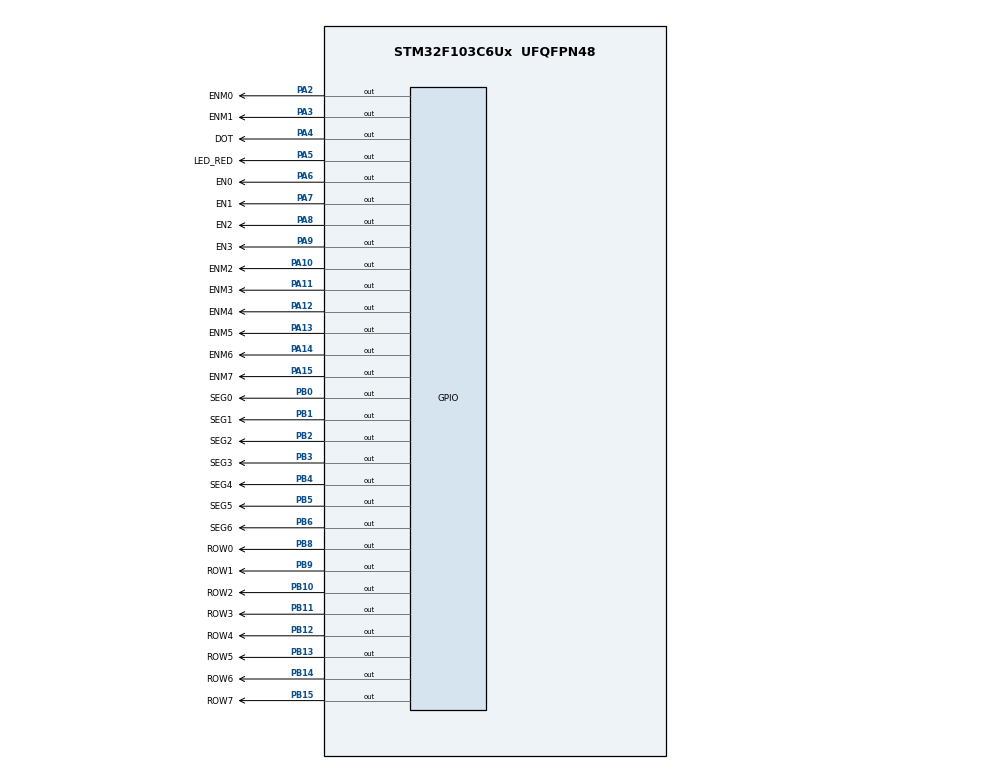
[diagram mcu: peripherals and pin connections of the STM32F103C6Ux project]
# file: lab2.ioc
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Mcu.Family=STM32F1
Mcu.Name=STM32F103C6Ux
Mcu.Package=UFQFPN48
NVIC.PriorityGroup=NVIC_PRIORITYGROUP_4
NVIC.TIM2_IRQn=true\:0\:0\:false\:false\:true\:true\:true
PA10.GPIO_Label=ENM2
PA10.Signal=GPIO_Output
PA11.GPIO_Label=ENM3
PA11.Signal=GPIO_Output
PA12.GPIO_Label=ENM4
PA12.Signal=GPIO_Output
PA13.GPIO_Label=ENM5
PA13.Signal=GPIO_Output
PA14.GPIO_Label=ENM6
PA14.Signal=GPIO_Output
PA15.GPIO_Label=ENM7
PA15.Signal=GPIO_Output
PA2.GPIO_Label=ENM0
PA2.Signal=GPIO_Output
PA3.GPIO_Label=ENM1
PA3.Signal=GPIO_Output
PA4.GPIO_Label=DOT
PA4.Signal=GPIO_Output
PA5.GPIO_Label=LED_RED
PA5.Signal=GPIO_Output
PA6.GPIO_Label=EN0
PA6.Signal=GPIO_Output
PA7.GPIO_Label=EN1
PA7.Signal=GPIO_Output
PA8.GPIO_Label=EN2
PA8.Signal=GPIO_Output
PA9.GPIO_Label=EN3
PA9.Signal=GPIO_Output
PB0.GPIO_Label=SEG0
PB0.Signal=GPIO_Output
PB1.GPIO_Label=SEG1
PB1.Signal=GPIO_Output
PB10.GPIO_Label=ROW2
PB10.Signal=GPIO_Output
PB11.GPIO_Label=ROW3
PB11.Signal=GPIO_Output
PB12.GPIO_Label=ROW4
PB12.Signal=GPIO_Output
PB13.GPIO_Label=ROW5
PB13.Signal=GPIO_Output
PB14.GPIO_Label=ROW6
PB14.Signal=GPIO_Output
PB15.GPIO_Label=ROW7
PB15.Signal=GPIO_Output
PB2.GPIO_Label=SEG2
PB2.Signal=GPIO_Output
PB3.GPIO_Label=SEG3
PB3.Signal=GPIO_Output
PB4.GPIO_Label=SEG4
PB4.Signal=GPIO_Output
PB5.GPIO_Label=SEG5
PB5.Signal=GPIO_Output
PB6.GPIO_Label=SEG6
PB6.Signal=GPIO_Output
PB8.GPIO_Label=ROW0
PB8.Signal=GPIO_Output
PB9.GPIO_Label=ROW1
PB9.Signal=GPIO_Output
ProjectManager.HeapSize=0x200
ProjectManager.StackSize=0x400
ProjectManager.TargetToolchain=STM32CubeIDE
RCC.APB1Freq_Value=8000000
RCC.APB2Freq_Value=8000000
TIM2.Period=9
TIM2.Prescaler=7999
VP_SYS_VS_ND.Mode=No_Debug
VP_TIM2_VS_ClockSourceINT.Mode=Internal
board=custom

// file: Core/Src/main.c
/* USER CODE BEGIN Header */
/**
  ******************************************************************************
  * @file           : main.c
  * @brief          : Main program body
  ******************************************************************************
  * @attention
  *
  * <h2><center>&copy; Copyright (c) 2026 STMicroelectronics.
  * All rights reserved.</center></h2>
  *
  * This software component is licensed by ST under BSD 3-Clause license,
  * the "License"; You may not use this file except in compliance with the
  * License. You may obtain a copy of the License at:
  *                        opensource.org/licenses/BSD-3-Clause
  *
  ******************************************************************************
  */
/* USER CODE END Header */
#include "main.h"

TIM_HandleTypeDef htim2;

/* USER CODE BEGIN PV */
int hour = 15, minute = 8, second = 50;
int counter_7seg = 25;
int led_state = 0;
int led_index = 0;
int counter_dot = 100;
const int MAX_LED = 4;
int index_led = 0;
int led_buffer[4] = {1, 2, 3, 0};
const int MAX_LED_MATRIX = 8;
int index_led_matrix = 0;
uint8_t matrix_buffer[8] = {0x18, 0x24, 0x42, 0x42, 0x7E, 0x42, 0x42, 0x42};
const uint16_t ENM_PIN[8] = {
    GPIO_PIN_2,  GPIO_PIN_3,  GPIO_PIN_10, GPIO_PIN_11,
    GPIO_PIN_12, GPIO_PIN_13, GPIO_PIN_14, GPIO_PIN_15
};
/* USER CODE END PV */

void SystemClock_Config(void);
static void MX_GPIO_Init(void);
static void MX_TIM2_Init(void);
/* USER CODE BEGIN PFP */
void HAL_TIM_PeriodElapsedCallback ( TIM_HandleTypeDef * htim );
void display7SEG(int num);
void updateClockBuffer();
void update7SEG(int index);
void updateLEDMatrix(int index);
void setRowData(uint8_t data);
void shiftLeft(void);
/* USER CODE END PFP */

/* USER CODE BEGIN 0 */
int timer0_counter = 0;
int timer0_flag = 0;

int timer1_counter = 0;
int timer1_flag = 0;

int timer2_counter = 0;
int timer2_flag = 0;

int TIMER_CYCLE = 10;

void setTimer0(int duration) {
    timer0_counter = duration / TIMER_CYCLE;
    timer0_flag = 0;
}

void setTimer1(int duration) {
    timer1_counter = duration / TIMER_CYCLE;
    timer1_flag = 0;
}

void setTimer2(int duration) {
    timer2_counter = duration / TIMER_CYCLE;
    timer2_flag = 0;
}

int timer3_counter = 0;
int timer3_flag = 0;

void setTimer3(int duration) {
    timer3_counter = duration / TIMER_CYCLE;
    timer3_flag = 0;
}

void timer_run() {
    if (timer0_counter > 0) {
        timer0_counter--;
        if (timer0_counter == 0) {
            timer0_flag = 1;
        }
    }
    if (timer1_counter > 0) {
        timer1_counter--;
        if (timer1_counter == 0) {
            timer1_flag = 1;
        }
    }
    if (timer2_counter > 0) {
            timer2_counter--;
            if (timer2_counter == 0)
            	timer2_flag = 1;
        }
    if (timer3_counter > 0) {
            timer3_counter--;
            if (timer3_counter == 0) timer3_flag = 1;
        }
}
/* USER CODE END 0 */

int main(void)
{

  /* MCU Configuration--------------------------------------------------------*/

  /* Reset of all peripherals, Initializes the Flash interface and the Systick. */
  HAL_Init();

  /* Configure the system clock */
  SystemClock_Config();

  /* Initialize all configured peripherals */
  MX_GPIO_Init();
  MX_TIM2_Init();
  /* USER CODE BEGIN 2 */
  updateClockBuffer();
  HAL_TIM_Base_Start_IT (& htim2 );
  setTimer0(1000);
  setTimer1(250);
  setTimer2(10);
  setTimer3(500);
  /* USER CODE END 2 */

  /* Infinite loop */
  while (1)
  {

    /* USER CODE BEGIN 3 */
	  /*if (timer0_flag == 1) {
	          setTimer0(1000);
	          HAL_GPIO_TogglePin(GPIOA, DOT_Pin);
	          second++;
	          if (second >= 60) {
	              second = 0;
	              minute++;
	          }
	          if (minute >= 60) {
	              minute = 0;
	              hour++;
	          }
	          if (hour >= 24) {
	              hour = 0;
	          }
	          updateClockBuffer();
	      }*/
	  if (timer0_flag == 1) {
	            setTimer0(1000);
	            HAL_GPIO_TogglePin(GPIOA, DOT_Pin);
	            second++;
	            if (second >= 60) {
	                second = 0;
	                minute++;
	            }
	            if (minute >= 60) {
	                minute = 0;
	                hour++;
	            }
	            if (hour >= 24) {
	                hour = 0;
	            }
	            updateClockBuffer();
	        }
	        if (timer1_flag == 1) {
	            setTimer1(250);
	            update7SEG(index_led++);
	            if(index_led >= MAX_LED) {
	                index_led = 0;
	            }
	        }
	        if (timer2_flag == 1) {
	                    setTimer2(10);
	                    updateLEDMatrix(index_led_matrix++);
	                    if (index_led_matrix >= MAX_LED_MATRIX) {
	                        index_led_matrix = 0;
	                    }
	        }
	        if (timer3_flag == 1) {
	                    setTimer3(500);
	                    shiftLeft();
	                }
  /* USER CODE END 3 */
  }
}

void SystemClock_Config(void)
{
  RCC_OscInitTypeDef RCC_OscInitStruct = {0};
  RCC_ClkInitTypeDef RCC_ClkInitStruct = {0};

  /** Initializes the RCC Oscillators according to the specified parameters
  * in the RCC_OscInitTypeDef structure.
  */
  RCC_OscInitStruct.OscillatorType = RCC_OSCILLATORTYPE_HSI;
  RCC_OscInitStruct.HSIState = RCC_HSI_ON;
  RCC_OscInitStruct.HSICalibrationValue = RCC_HSICALIBRATION_DEFAULT;
  RCC_OscInitStruct.PLL.PLLState = RCC_PLL_NONE;
  if (HAL_RCC_OscConfig(&RCC_OscInitStruct) != HAL_OK)
  {
    Error_Handler();
  }
  /** Initializes the CPU, AHB and APB buses clocks
  */
  RCC_ClkInitStruct.ClockType = RCC_CLOCKTYPE_HCLK|RCC_CLOCKTYPE_SYSCLK
                              |RCC_CLOCKTYPE_PCLK1|RCC_CLOCKTYPE_PCLK2;
  RCC_ClkInitStruct.SYSCLKSource = RCC_SYSCLKSOURCE_HSI;
  RCC_ClkInitStruct.AHBCLKDivider = RCC_SYSCLK_DIV1;
  RCC_ClkInitStruct.APB1CLKDivider = RCC_HCLK_DIV1;
  RCC_ClkInitStruct.APB2CLKDivider = RCC_HCLK_DIV1;

  if (HAL_RCC_ClockConfig(&RCC_ClkInitStruct, FLASH_LATENCY_0) != HAL_OK)
  {
    Error_Handler();
  }
}

static void MX_TIM2_Init(void)
{

  TIM_ClockConfigTypeDef sClockSourceConfig = {0};
  TIM_MasterConfigTypeDef sMasterConfig = {0};

  htim2.Instance = TIM2;
  htim2.Init.Prescaler = 7999;
  htim2.Init.CounterMode = TIM_COUNTERMODE_UP;
  htim2.Init.Period = 9;
  htim2.Init.ClockDivision = TIM_CLOCKDIVISION_DIV1;
  htim2.Init.AutoReloadPreload = TIM_AUTORELOAD_PRELOAD_DISABLE;
  if (HAL_TIM_Base_Init(&htim2) != HAL_OK)
  {
    Error_Handler();
  }
  sClockSourceConfig.ClockSource = TIM_CLOCKSOURCE_INTERNAL;
  if (HAL_TIM_ConfigClockSource(&htim2, &sClockSourceConfig) != HAL_OK)
  {
    Error_Handler();
  }
  sMasterConfig.MasterOutputTrigger = TIM_TRGO_RESET;
  sMasterConfig.MasterSlaveMode = TIM_MASTERSLAVEMODE_DISABLE;
  if (HAL_TIMEx_MasterConfigSynchronization(&htim2, &sMasterConfig) != HAL_OK)
  {
    Error_Handler();
  }

}

static void MX_GPIO_Init(void)
{
  GPIO_InitTypeDef GPIO_InitStruct = {0};

  /* GPIO Ports Clock Enable */
  __HAL_RCC_GPIOA_CLK_ENABLE();
  __HAL_RCC_GPIOB_CLK_ENABLE();

  /*Configure GPIO pin Output Level */
  HAL_GPIO_WritePin(GPIOA, ENM0_Pin|ENM1_Pin|DOT_Pin|LED_RED_Pin
                          |EN0_Pin|EN1_Pin|EN2_Pin|EN3_Pin
                          |ENM2_Pin|ENM3_Pin|ENM4_Pin|ENM5_Pin
                          |ENM6_Pin|ENM7_Pin, GPIO_PIN_RESET);

  /*Configure GPIO pin Output Level */
  HAL_GPIO_WritePin(GPIOB, SEG0_Pin|SEG1_Pin|SEG2_Pin|ROW2_Pin
                          |ROW3_Pin|ROW4_Pin|ROW5_Pin|ROW6_Pin
                          |ROW7_Pin|SEG3_Pin|SEG4_Pin|SEG5_Pin
                          |SEG6_Pin|ROW0_Pin|ROW1_Pin, GPIO_PIN_RESET);

  /*Configure GPIO pins : ENM0_Pin ENM1_Pin DOT_Pin LED_RED_Pin
                           EN0_Pin EN1_Pin EN2_Pin EN3_Pin
                           ENM2_Pin ENM3_Pin ENM4_Pin ENM5_Pin
                           ENM6_Pin ENM7_Pin */
  GPIO_InitStruct.Pin = ENM0_Pin|ENM1_Pin|DOT_Pin|LED_RED_Pin
                          |EN0_Pin|EN1_Pin|EN2_Pin|EN3_Pin
                          |ENM2_Pin|ENM3_Pin|ENM4_Pin|ENM5_Pin
                          |ENM6_Pin|ENM7_Pin;
  GPIO_InitStruct.Mode = GPIO_MODE_OUTPUT_PP;
  GPIO_InitStruct.Pull = GPIO_NOPULL;
  GPIO_InitStruct.Speed = GPIO_SPEED_FREQ_LOW;
  HAL_GPIO_Init(GPIOA, &GPIO_InitStruct);

  /*Configure GPIO pins : SEG0_Pin SEG1_Pin SEG2_Pin ROW2_Pin
                           ROW3_Pin ROW4_Pin ROW5_Pin ROW6_Pin
                           ROW7_Pin SEG3_Pin SEG4_Pin SEG5_Pin
                           SEG6_Pin ROW0_Pin ROW1_Pin */
  GPIO_InitStruct.Pin = SEG0_Pin|SEG1_Pin|SEG2_Pin|ROW2_Pin
                          |ROW3_Pin|ROW4_Pin|ROW5_Pin|ROW6_Pin
                          |ROW7_Pin|SEG3_Pin|SEG4_Pin|SEG5_Pin
                          |SEG6_Pin|ROW0_Pin|ROW1_Pin;
  GPIO_InitStruct.Mode = GPIO_MODE_OUTPUT_PP;
  GPIO_InitStruct.Pull = GPIO_NOPULL;
  GPIO_InitStruct.Speed = GPIO_SPEED_FREQ_LOW;
  HAL_GPIO_Init(GPIOB, &GPIO_InitStruct);

}

/* USER CODE BEGIN 4 */
void update7SEG(int index) {
    HAL_GPIO_WritePin(GPIOA, EN0_Pin | EN1_Pin | EN2_Pin | EN3_Pin, GPIO_PIN_SET);

    switch (index) {
        case 0:
            display7SEG(led_buffer[0]);
            HAL_GPIO_WritePin(GPIOA, EN0_Pin, GPIO_PIN_RESET);
            break;
        case 1:
            display7SEG(led_buffer[1]);
            HAL_GPIO_WritePin(GPIOA, EN1_Pin, GPIO_PIN_RESET);
            break;
        case 2:
            display7SEG(led_buffer[2]);
            HAL_GPIO_WritePin(GPIOA, EN2_Pin, GPIO_PIN_RESET);
            break;
        case 3:
            display7SEG(led_buffer[3]);
            HAL_GPIO_WritePin(GPIOA, EN3_Pin, GPIO_PIN_RESET);
            break;
        default:
            break;
    }
}

void HAL_TIM_PeriodElapsedCallback(TIM_HandleTypeDef *htim)
{
	/*//Ex1
    if(htim->Instance == TIM2) {
        counter_7seg--;
        if(counter_7seg <= 0){
            counter_7seg = 50;
            if(led_state == 0) {
                HAL_GPIO_WritePin(GPIOA, EN0_Pin, GPIO_PIN_RESET);
                HAL_GPIO_WritePin(GPIOA, EN1_Pin, GPIO_PIN_SET);
                display7SEG(1);
                led_state = 1;
            } else {
                HAL_GPIO_WritePin(GPIOA, EN0_Pin, GPIO_PIN_SET);
                HAL_GPIO_WritePin(GPIOA, EN1_Pin, GPIO_PIN_RESET);
                display7SEG(2);
                led_state = 0;
            }
        }
    } //Ex1 */

	/*//Ex2
	if(htim->Instance == TIM2) {
	        counter_dot--;
	        if(counter_dot <= 0) {
	            counter_dot = 100;
	            HAL_GPIO_TogglePin(GPIOA, DOT_Pin);
	        }
	        counter_7seg--;
	        if(counter_7seg <= 0) {
	            counter_7seg = 50;
	            HAL_GPIO_WritePin(GPIOA, EN0_Pin | EN1_Pin | EN2_Pin | EN3_Pin, GPIO_PIN_SET);
	            switch(led_index) {
	                case 0:
	                    display7SEG(1);
	                    HAL_GPIO_WritePin(GPIOA, EN0_Pin, GPIO_PIN_RESET);
	                    break;
	                case 1:
	                    display7SEG(2);
	                    HAL_GPIO_WritePin(GPIOA, EN1_Pin, GPIO_PIN_RESET);
	                    break;
	                case 2:
	                    display7SEG(3);
	                    HAL_GPIO_WritePin(GPIOA, EN2_Pin, GPIO_PIN_RESET);
	                    break;
	                case 3:
	                    display7SEG(0);
	                    HAL_GPIO_WritePin(GPIOA, EN3_Pin, GPIO_PIN_RESET);
	                    break;
	            }
	            led_index++;
	            if(led_index >= 4) {
	                led_index = 0;
	            }
	        }
	    }//Ex2*/

	//Ex3
	if(htim->Instance == TIM2) {
		timer_run();/*
	        counter_dot--;
	        if(counter_dot <= 0) {
	            counter_dot = 100;
	            HAL_GPIO_TogglePin(GPIOA, DOT_Pin);
	        }*/
	        /*counter_7seg--;
	        if(counter_7seg <= 0) {
	            counter_7seg = 25;
	            update7SEG(index_led++);
	            if(index_led >= MAX_LED) {
	                index_led = 0;
	            }
	        }*/
	    }
	//Ex3
}

void updateClockBuffer() {
    led_buffer[0] = hour / 10;
    led_buffer[1] = hour % 10;
    led_buffer[2] = minute / 10;
    led_buffer[3] = minute % 10;
}

void display7SEG(int num){
	if(num<0||num>9) return;
	switch(num){
	case 0:
		HAL_GPIO_WritePin(GPIOB, SEG0_Pin, GPIO_PIN_RESET);
		HAL_GPIO_WritePin(GPIOB, SEG1_Pin, GPIO_PIN_RESET);
		HAL_GPIO_WritePin(GPIOB, SEG2_Pin, GPIO_PIN_RESET);
		HAL_GPIO_WritePin(GPIOB, SEG3_Pin, GPIO_PIN_RESET);
		HAL_GPIO_WritePin(GPIOB, SEG4_Pin, GPIO_PIN_RESET);
		HAL_GPIO_WritePin(GPIOB, SEG5_Pin, GPIO_PIN_RESET);
		HAL_GPIO_WritePin(GPIOB, SEG6_Pin, GPIO_PIN_SET);
		break;
	case 1:
		HAL_GPIO_WritePin(GPIOB, SEG0_Pin, GPIO_PIN_SET);
		HAL_GPIO_WritePin(GPIOB, SEG1_Pin, GPIO_PIN_RESET);
		HAL_GPIO_WritePin(GPIOB, SEG2_Pin, GPIO_PIN_RESET);
		HAL_GPIO_WritePin(GPIOB, SEG3_Pin, GPIO_PIN_SET);
		HAL_GPIO_WritePin(GPIOB, SEG4_Pin, GPIO_PIN_SET);
		HAL_GPIO_WritePin(GPIOB, SEG5_Pin, GPIO_PIN_SET);
		HAL_GPIO_WritePin(GPIOB, SEG6_Pin, GPIO_PIN_SET);
		break;
	case 2:
		HAL_GPIO_WritePin(GPIOB, SEG0_Pin, GPIO_PIN_RESET);
		HAL_GPIO_WritePin(GPIOB, SEG1_Pin, GPIO_PIN_RESET);
		HAL_GPIO_WritePin(GPIOB, SEG2_Pin, GPIO_PIN_SET);
		HAL_GPIO_WritePin(GPIOB, SEG3_Pin, GPIO_PIN_RESET);
		HAL_GPIO_WritePin(GPIOB, SEG4_Pin, GPIO_PIN_RESET);
		HAL_GPIO_WritePin(GPIOB, SEG5_Pin, GPIO_PIN_SET);
		HAL_GPIO_WritePin(GPIOB, SEG6_Pin, GPIO_PIN_RESET);
		break;
	case 3:
		HAL_GPIO_WritePin(GPIOB, SEG0_Pin, GPIO_PIN_RESET);
		HAL_GPIO_WritePin(GPIOB, SEG1_Pin, GPIO_PIN_RESET);
		HAL_GPIO_WritePin(GPIOB, SEG2_Pin, GPIO_PIN_RESET);
		HAL_GPIO_WritePin(GPIOB, SEG3_Pin, GPIO_PIN_RESET);
		HAL_GPIO_WritePin(GPIOB, SEG4_Pin, GPIO_PIN_SET);
		HAL_GPIO_WritePin(GPIOB, SEG5_Pin, GPIO_PIN_SET);
		HAL_GPIO_WritePin(GPIOB, SEG6_Pin, GPIO_PIN_RESET);
		break;
	case 4:
		HAL_GPIO_WritePin(GPIOB, SEG0_Pin, GPIO_PIN_SET);
		HAL_GPIO_WritePin(GPIOB, SEG1_Pin, GPIO_PIN_RESET);
		HAL_GPIO_WritePin(GPIOB, SEG2_Pin, GPIO_PIN_RESET);
		HAL_GPIO_WritePin(GPIOB, SEG3_Pin, GPIO_PIN_SET);
		HAL_GPIO_WritePin(GPIOB, SEG4_Pin, GPIO_PIN_SET);
		HAL_GPIO_WritePin(GPIOB, SEG5_Pin, GPIO_PIN_RESET);
		HAL_GPIO_WritePin(GPIOB, SEG6_Pin, GPIO_PIN_RESET);
		break;
	case 5:
		HAL_GPIO_WritePin(GPIOB, SEG0_Pin, GPIO_PIN_RESET);
		HAL_GPIO_WritePin(GPIOB, SEG1_Pin, GPIO_PIN_SET);
		HAL_GPIO_WritePin(GPIOB, SEG2_Pin, GPIO_PIN_RESET);
		HAL_GPIO_WritePin(GPIOB, SEG3_Pin, GPIO_PIN_RESET);
		HAL_GPIO_WritePin(GPIOB, SEG4_Pin, GPIO_PIN_SET);
		HAL_GPIO_WritePin(GPIOB, SEG5_Pin, GPIO_PIN_RESET);
		HAL_GPIO_WritePin(GPIOB, SEG6_Pin, GPIO_PIN_RESET);
		break;
	case 6:
		HAL_GPIO_WritePin(GPIOB, SEG0_Pin, GPIO_PIN_RESET);
		HAL_GPIO_WritePin(GPIOB, SEG1_Pin, GPIO_PIN_SET);
		HAL_GPIO_WritePin(GPIOB, SEG2_Pin, GPIO_PIN_RESET);
		HAL_GPIO_WritePin(GPIOB, SEG3_Pin, GPIO_PIN_RESET);
		HAL_GPIO_WritePin(GPIOB, SEG4_Pin, GPIO_PIN_RESET);
		HAL_GPIO_WritePin(GPIOB, SEG5_Pin, GPIO_PIN_RESET);
		HAL_GPIO_WritePin(GPIOB, SEG6_Pin, GPIO_PIN_RESET);
		break;
	case 7:
		HAL_GPIO_WritePin(GPIOB, SEG0_Pin, GPIO_PIN_RESET);
		HAL_GPIO_WritePin(GPIOB, SEG1_Pin, GPIO_PIN_RESET);
		HAL_GPIO_WritePin(GPIOB, SEG2_Pin, GPIO_PIN_RESET);
		HAL_GPIO_WritePin(GPIOB, SEG3_Pin, GPIO_PIN_SET);
		HAL_GPIO_WritePin(GPIOB, SEG4_Pin, GPIO_PIN_SET);
		HAL_GPIO_WritePin(GPIOB, SEG5_Pin, GPIO_PIN_SET);
		HAL_GPIO_WritePin(GPIOB, SEG6_Pin, GPIO_PIN_SET);
		break;
	case 8:
		HAL_GPIO_WritePin(GPIOB, SEG0_Pin, GPIO_PIN_RESET);
		HAL_GPIO_WritePin(GPIOB, SEG1_Pin, GPIO_PIN_RESET);
		HAL_GPIO_WritePin(GPIOB, SEG2_Pin, GPIO_PIN_RESET);
		HAL_GPIO_WritePin(GPIOB, SEG3_Pin, GPIO_PIN_RESET);
		HAL_GPIO_WritePin(GPIOB, SEG4_Pin, GPIO_PIN_RESET);
		HAL_GPIO_WritePin(GPIOB, SEG5_Pin, GPIO_PIN_RESET);
		HAL_GPIO_WritePin(GPIOB, SEG6_Pin, GPIO_PIN_RESET);
		break;
	case 9:
		HAL_GPIO_WritePin(GPIOB, SEG0_Pin, GPIO_PIN_RESET);
		HAL_GPIO_WritePin(GPIOB, SEG1_Pin, GPIO_PIN_RESET);
		HAL_GPIO_WritePin(GPIOB, SEG2_Pin, GPIO_PIN_RESET);
		HAL_GPIO_WritePin(GPIOB, SEG3_Pin, GPIO_PIN_RESET);
		HAL_GPIO_WritePin(GPIOB, SEG4_Pin, GPIO_PIN_SET);
		HAL_GPIO_WritePin(GPIOB, SEG5_Pin, GPIO_PIN_RESET);
		HAL_GPIO_WritePin(GPIOB, SEG6_Pin, GPIO_PIN_RESET);
		break;
	}
}

void setRowData(uint8_t data) {
    HAL_GPIO_WritePin(GPIOB, ROW0_Pin, (data >> 0) & 0x01 ? GPIO_PIN_SET : GPIO_PIN_RESET);
    HAL_GPIO_WritePin(GPIOB, ROW1_Pin, (data >> 1) & 0x01 ? GPIO_PIN_SET : GPIO_PIN_RESET);
    HAL_GPIO_WritePin(GPIOB, ROW2_Pin, (data >> 2) & 0x01 ? GPIO_PIN_SET : GPIO_PIN_RESET);
    HAL_GPIO_WritePin(GPIOB, ROW3_Pin, (data >> 3) & 0x01 ? GPIO_PIN_SET : GPIO_PIN_RESET);
    HAL_GPIO_WritePin(GPIOB, ROW4_Pin, (data >> 4) & 0x01 ? GPIO_PIN_SET : GPIO_PIN_RESET);
    HAL_GPIO_WritePin(GPIOB, ROW5_Pin, (data >> 5) & 0x01 ? GPIO_PIN_SET : GPIO_PIN_RESET);
    HAL_GPIO_WritePin(GPIOB, ROW6_Pin, (data >> 6) & 0x01 ? GPIO_PIN_SET : GPIO_PIN_RESET);
    HAL_GPIO_WritePin(GPIOB, ROW7_Pin, (data >> 7) & 0x01 ? GPIO_PIN_SET : GPIO_PIN_RESET);
}

void updateLEDMatrix(int index) {
    HAL_GPIO_WritePin(GPIOA, ENM0_Pin | ENM1_Pin | ENM2_Pin | ENM3_Pin |
                             ENM4_Pin | ENM5_Pin | ENM6_Pin | ENM7_Pin, GPIO_PIN_RESET);

    setRowData(matrix_buffer[index]);

    switch (index) {
        case 0: HAL_GPIO_WritePin(GPIOA, ENM0_Pin, GPIO_PIN_SET); break;
        case 1: HAL_GPIO_WritePin(GPIOA, ENM1_Pin, GPIO_PIN_SET); break;
        case 2: HAL_GPIO_WritePin(GPIOA, ENM2_Pin, GPIO_PIN_SET); break;
        case 3: HAL_GPIO_WritePin(GPIOA, ENM3_Pin, GPIO_PIN_SET); break;
        case 4: HAL_GPIO_WritePin(GPIOA, ENM4_Pin, GPIO_PIN_SET); break;
        case 5: HAL_GPIO_WritePin(GPIOA, ENM5_Pin, GPIO_PIN_SET); break;
        case 6: HAL_GPIO_WritePin(GPIOA, ENM6_Pin, GPIO_PIN_SET); break;
        case 7: HAL_GPIO_WritePin(GPIOA, ENM7_Pin, GPIO_PIN_SET); break;
        default: break;
    }
}

void shiftLeft(void) {
    for (int i = 0; i < 8; i++) {
        uint8_t overflow_bit = matrix_buffer[i] & 0x01;

        matrix_buffer[i] = (matrix_buffer[i] >> 1) | (overflow_bit << 7);
    }
}
/* USER CODE END 4 */

void Error_Handler(void)
{
  __disable_irq();
  while (1)
  {
  }
}

/************************ (C) COPYRIGHT STMicroelectronics *****END OF FILE****/
